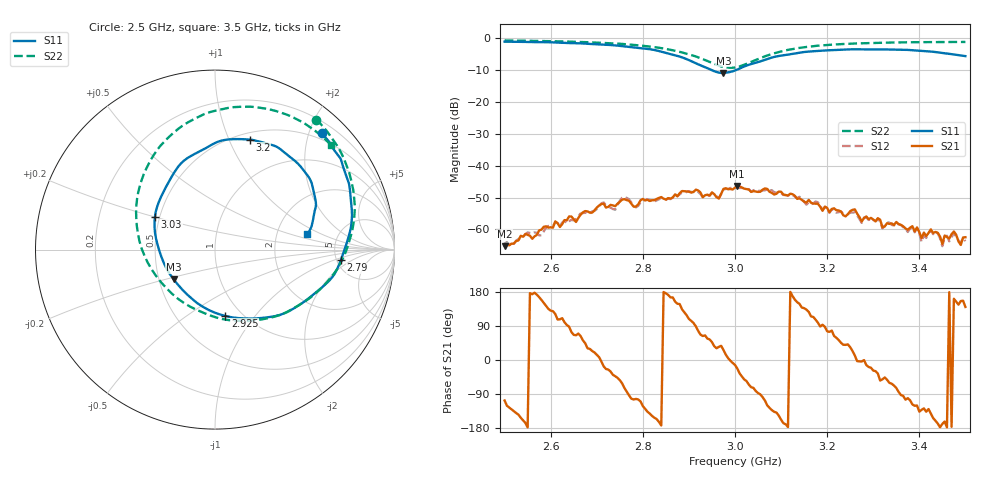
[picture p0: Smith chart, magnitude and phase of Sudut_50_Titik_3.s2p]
# Hz S RI R 50
! CMT, C1220, 16058040, 17.2.0/1
! Date: 15/08/2018 10:40:06
! Data: Format (Calibration Info)
! Freq  S11: Re/Im (F2)  S21: Re/Im (F2)  S12: Re/Im (F2)  S22: Re/Im (F2)
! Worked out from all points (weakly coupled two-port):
!   201 points, 2.5 GHz to 3.5 GHz, reference 50 ohm
!   highest |S21| = -46.39 dB at 3.005 GHz (marker M1); lowest = -65.2 dB at 2.5 GHz (marker M2)
!   lowest |S11| = -10.9 dB at 2.975 GHz (marker M3), VSWR 1.79, Z = 29.8 - j10.8 ohm
!   |S11| at or under -10 dB: 2.949 GHz to 3.003 GHz (53.47 MHz wide, 1.8 % of centre)
!   |S22| runs from -9.3 to -0.7 dB; largest |S21 - S12| = 0.0004
!   S11 on the Smith chart (normalised r, x): 2.5 GHz: 0.39, +2.22; 2.79 GHz: 5.43, -1.29; 2.925 GHz: 0.84, -0.72; 3.03 GHz: 0.47, +0.20; 3.2 GHz: 0.57, +1.19; 3.5 GHz: 3.00, +0.70
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2.5e9  0.594 0.6481  -0.000161 -0.000526  -0.0002 -0.000565  0.5644 0.7246
2.67e9  0.751 0.3393  0.00115 0.00146  0.00119 0.00135  0.7391 0.4526
2.74e9  0.7578 0.1278  0.0017 -0.00157  0.00157 -0.00129  0.7771 0.272
2.76e9  0.7401 0.0565  0.000833 -0.00286  0.000951 -0.00312  0.778 0.2089
2.79e9  0.7007 -0.0599  -0.000601 -0.0024  -0.000644 -0.00225  0.764 0.1044
2.835e9  0.5874 -0.218  -0.00299 -0.00089  -0.00281 -0.000962  0.7028 -0.0686
2.925e9  0.0585 -0.3698  0.00148 0.0035  0.00122 0.00337  0.2975 -0.3816
2.965e9  -0.183 -0.2219  0.0025 0.00174  0.00261 0.00168  -0.0194 -0.3696
2.975e9  -0.2306 -0.1657  0.00387 0.00192  0.00375 0.00186  -0.0965 -0.3382
3e9  -0.3104 -0.00573  0.00441 -0.00102  0.00435 -0.00126  -0.273 -0.2123
3.005e9  -0.3199 0.0271  0.00442 -0.00184  0.00425 -0.00183  -0.3021 -0.1801
3.03e9  -0.3348 0.1832  0.00179 -0.00384  0.00179 -0.00388  -0.4089 0.00638
3.17e9  0.094 0.6151  -0.00102 0.00233  -0.00122 0.00225  -0.0875 0.7418
3.2e9  0.1935 0.6129  0.000536 0.00211  0.000578 0.00208  0.0228 0.7785
3.335e9  0.4927 0.4428  0.000606 -0.00106  0.000554 -0.00115  0.3936 0.7542
3.395e9  0.5492 0.3243  -0.000538 -0.000932  -0.000599 -0.000851  0.5044 0.6994
3.405e9  0.5553 0.2979  -0.000482 -0.000547  -0.000429 -0.000469  0.5201 0.688
3.425e9  0.5625 0.2508  -0.000781 -0.000629  -0.000747 -0.000607  0.5501 0.668
3.45e9  0.5519 0.1959  -0.00058 -0.000117  -0.000539 -9.2e-05  0.5865 0.6395
3.475e9  0.5386 0.132  -0.000881 0.000292  -0.000855 0.000231  0.617 0.612
3.49e9  0.5253 0.1027  -0.00052 0.000237  -0.000514 0.000348  0.635 0.5937
3.5e9  0.515 0.0845  -0.000579 0.000484  -0.000452 0.000471  0.6463 0.5824
